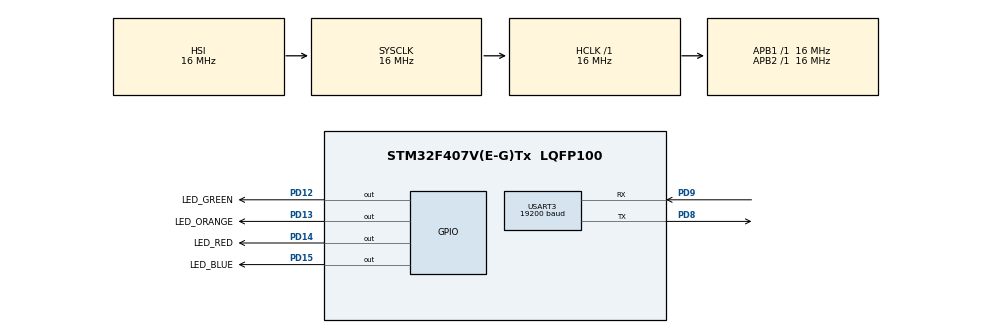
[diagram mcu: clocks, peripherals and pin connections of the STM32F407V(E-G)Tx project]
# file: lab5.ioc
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Mcu.Family=STM32F4
Mcu.Name=STM32F407V(E-G)Tx
Mcu.Package=LQFP100
NVIC.PriorityGroup=NVIC_PRIORITYGROUP_4
PD12.GPIO_Label=LED_GREEN
PD12.Signal=GPIO_Output
PD13.GPIO_Label=LED_ORANGE
PD13.Signal=GPIO_Output
PD14.GPIO_Label=LED_RED
PD14.Signal=GPIO_Output
PD15.GPIO_Label=LED_BLUE
PD15.Signal=GPIO_Output
PD8.Mode=Asynchronous
PD8.Signal=USART3_TX
PD9.Mode=Asynchronous
PD9.Signal=USART3_RX
ProjectManager.HeapSize=0x200
ProjectManager.StackSize=0x400
ProjectManager.TargetToolchain=STM32CubeIDE
RCC.AHBFreq_Value=16000000
RCC.APB1Freq_Value=16000000
RCC.APB2Freq_Value=16000000
RCC.CortexFreq_Value=16000000
RCC.HSE_VALUE=25000000
RCC.HSI_VALUE=16000000
RCC.LSE_VALUE=32768
RCC.SYSCLKFreq_VALUE=16000000
RCC.VCOOutputFreq_Value=192000000
USART3.BaudRate=19200
USART3.VirtualMode=VM_ASYNC
board=custom

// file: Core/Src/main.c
/* USER CODE BEGIN Header */
/**
  ******************************************************************************
  * @file           : main.c
  * @brief          : Main program body
  ******************************************************************************
  * @attention
  *
  * Copyright (c) 2026 STMicroelectronics.
  * All rights reserved.
  *
  * This software is licensed under terms that can be found in the LICENSE file
  * in the root directory of this software component.
  * If no LICENSE file comes with this software, it is provided AS-IS.
  *
  ******************************************************************************
  */
/* USER CODE END Header */
#include "main.h"

/* USER CODE BEGIN PD */
#define ALL_LEDS  (LED_GREEN_Pin | LED_ORANGE_Pin | LED_RED_Pin | LED_BLUE_Pin)
#define SEND(s)   HAL_UART_Transmit(&huart3, (uint8_t*)(s), sizeof(s) - 1, 100)
/* USER CODE END PD */

UART_HandleTypeDef huart3;

/* USER CODE BEGIN PV */
uint8_t rxChar = 0;
/* USER CODE END PV */

void SystemClock_Config(void);
static void MX_GPIO_Init(void);
static void MX_USART3_UART_Init(void);

int main(void)
{

  /* MCU Configuration--------------------------------------------------------*/

  /* Reset of all peripherals, Initializes the Flash interface and the Systick. */
  HAL_Init();

  /* Configure the system clock */
  SystemClock_Config();

  /* Initialize all configured peripherals */
  MX_GPIO_Init();
  MX_USART3_UART_Init();
  /* USER CODE BEGIN 2 */
  SEND("Ready\r\n");
  /* USER CODE END 2 */

  /* Infinite loop */
  /* USER CODE BEGIN WHILE */
  while (1)
  {
	    if (HAL_UART_Receive(&huart3, &rxChar, 1, 10) == HAL_OK)
	    {
	      switch (rxChar)
	      {
	        case '1':
	          HAL_GPIO_WritePin(LED_GREEN_GPIO_Port, LED_GREEN_Pin, GPIO_PIN_SET);
	          SEND("GREEN ON\r\n");
	          break;

	        case '2':
	          HAL_GPIO_WritePin(LED_GREEN_GPIO_Port, LED_GREEN_Pin, GPIO_PIN_RESET);
	          SEND("GREEN OFF\r\n");
	          break;

	        case '3':
	          HAL_GPIO_WritePin(LED_ORANGE_GPIO_Port, LED_ORANGE_Pin, GPIO_PIN_SET);
	          SEND("ORANGE ON\r\n");
	          break;

	        case '4':
	          HAL_GPIO_WritePin(LED_ORANGE_GPIO_Port, LED_ORANGE_Pin, GPIO_PIN_RESET);
	          SEND("ORANGE OFF\r\n");
	          break;

	        case '5':
	          HAL_GPIO_WritePin(LED_RED_GPIO_Port, LED_RED_Pin, GPIO_PIN_SET);
	          SEND("RED ON\r\n");
	          break;

	        case '6':
	          HAL_GPIO_WritePin(LED_RED_GPIO_Port, LED_RED_Pin, GPIO_PIN_RESET);
	          SEND("RED OFF\r\n");
	          break;

	        case '7':
	          HAL_GPIO_WritePin(LED_BLUE_GPIO_Port, LED_BLUE_Pin, GPIO_PIN_SET);
	          SEND("BLUE ON\r\n");
	          break;

	        case '8':
	          HAL_GPIO_WritePin(LED_BLUE_GPIO_Port, LED_BLUE_Pin, GPIO_PIN_RESET);
	          SEND("BLUE OFF\r\n");
	          break;

	        case '9':
	          HAL_GPIO_WritePin(GPIOD, ALL_LEDS, GPIO_PIN_SET);
	          SEND("ALL ON\r\n");
	          break;

	        case '0':
	          HAL_GPIO_WritePin(GPIOD, ALL_LEDS, GPIO_PIN_RESET);
	          SEND("ALL OFF\r\n");
	          break;

	        default:
	          SEND("UnexpCmd\r\n");
	          break;
	      }
	    }
    /* USER CODE END WHILE */

  }
}

void SystemClock_Config(void)
{
  RCC_OscInitTypeDef RCC_OscInitStruct = {0};
  RCC_ClkInitTypeDef RCC_ClkInitStruct = {0};

  /** Configure the main internal regulator output voltage
  */
  __HAL_RCC_PWR_CLK_ENABLE();
  __HAL_PWR_VOLTAGESCALING_CONFIG(PWR_REGULATOR_VOLTAGE_SCALE1);

  /** Initializes the RCC Oscillators according to the specified parameters
  * in the RCC_OscInitTypeDef structure.
  */
  RCC_OscInitStruct.OscillatorType = RCC_OSCILLATORTYPE_HSI;
  RCC_OscInitStruct.HSIState = RCC_HSI_ON;
  RCC_OscInitStruct.HSICalibrationValue = RCC_HSICALIBRATION_DEFAULT;
  RCC_OscInitStruct.PLL.PLLState = RCC_PLL_NONE;
  if (HAL_RCC_OscConfig(&RCC_OscInitStruct) != HAL_OK)
  {
    Error_Handler();
  }

  /** Initializes the CPU, AHB and APB buses clocks
  */
  RCC_ClkInitStruct.ClockType = RCC_CLOCKTYPE_HCLK|RCC_CLOCKTYPE_SYSCLK
                              |RCC_CLOCKTYPE_PCLK1|RCC_CLOCKTYPE_PCLK2;
  RCC_ClkInitStruct.SYSCLKSource = RCC_SYSCLKSOURCE_HSI;
  RCC_ClkInitStruct.AHBCLKDivider = RCC_SYSCLK_DIV1;
  RCC_ClkInitStruct.APB1CLKDivider = RCC_HCLK_DIV1;
  RCC_ClkInitStruct.APB2CLKDivider = RCC_HCLK_DIV1;

  if (HAL_RCC_ClockConfig(&RCC_ClkInitStruct, FLASH_LATENCY_0) != HAL_OK)
  {
    Error_Handler();
  }
}

static void MX_USART3_UART_Init(void)
{

  huart3.Instance = USART3;
  huart3.Init.BaudRate = 19200;
  huart3.Init.WordLength = UART_WORDLENGTH_8B;
  huart3.Init.StopBits = UART_STOPBITS_1;
  huart3.Init.Parity = UART_PARITY_NONE;
  huart3.Init.Mode = UART_MODE_TX_RX;
  huart3.Init.HwFlowCtl = UART_HWCONTROL_NONE;
  huart3.Init.OverSampling = UART_OVERSAMPLING_16;
  if (HAL_UART_Init(&huart3) != HAL_OK)
  {
    Error_Handler();
  }

}

static void MX_GPIO_Init(void)
{
  GPIO_InitTypeDef GPIO_InitStruct = {0};

  /* GPIO Ports Clock Enable */
  __HAL_RCC_GPIOD_CLK_ENABLE();

  /*Configure GPIO pin Output Level */
  HAL_GPIO_WritePin(GPIOD, LED_GREEN_Pin|LED_ORANGE_Pin|LED_RED_Pin|LED_BLUE_Pin, GPIO_PIN_RESET);

  /*Configure GPIO pins : LED_GREEN_Pin LED_ORANGE_Pin LED_RED_Pin LED_BLUE_Pin */
  GPIO_InitStruct.Pin = LED_GREEN_Pin|LED_ORANGE_Pin|LED_RED_Pin|LED_BLUE_Pin;
  GPIO_InitStruct.Mode = GPIO_MODE_OUTPUT_PP;
  GPIO_InitStruct.Pull = GPIO_NOPULL;
  GPIO_InitStruct.Speed = GPIO_SPEED_FREQ_LOW;
  HAL_GPIO_Init(GPIOD, &GPIO_InitStruct);

}

void Error_Handler(void)
{
  __disable_irq();
  while (1)
  {
  }
}
